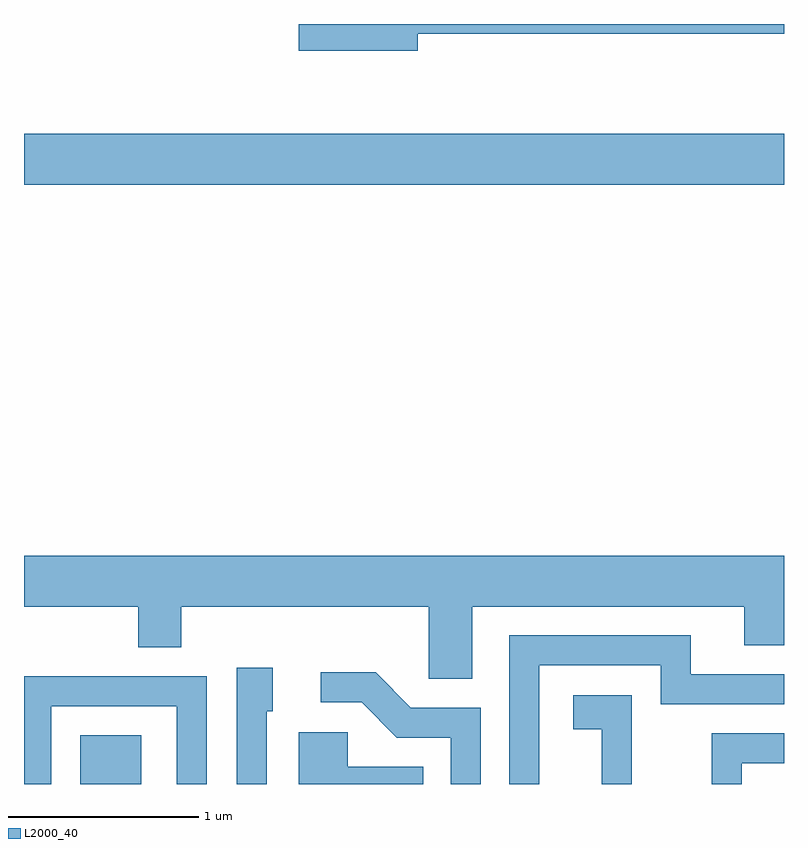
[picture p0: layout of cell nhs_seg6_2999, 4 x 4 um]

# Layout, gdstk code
import gdstk
lib = gdstk.Library(unit=1e-6, precision=1e-09)
def R(c, l, rs):  # rectangles x0, y0, x1, y1
    for r in rs: c.add(gdstk.rectangle(r[:2], r[2:], *l))
def P(c, l, *ps):  # polygons
    for p in ps: c.add(gdstk.Polygon(p, *l))
L2000_40 = (2000, 40)

nhs_seg6_2999 = lib.new_cell('nhs_seg6_2999')
R(nhs_seg6_2999, L2000_40, [(275.906,1600.162,276.229,1600.419), (275.611,1603.316,279.611,1603.584)])
P(nhs_seg6_2999, L2000_40, [(277.684,1604.111),(279.611,1604.111),(279.611,1604.162),(277.056,1604.162),(277.056,1604.021),(277.684,1604.021)],
  [(277.969,1601.096),(279.401,1601.096),(279.401,1600.891),(279.611,1600.891),(279.611,1601.364),(275.611,1601.364),(275.611,1601.096),(276.211,1601.096),(276.211,1600.881),(276.439,1600.881),(276.439,1601.096),(277.741,1601.096),(277.741,1600.716),(277.969,1600.716)],
  [(278.324,1600.786),(278.961,1600.786),(278.961,1600.581),(279.611,1600.581),(279.611,1600.739),(279.119,1600.739),(279.119,1600.944),(278.166,1600.944),(278.166,1600.162),(278.324,1600.162)],
  [(276.889,1600.546),(276.919,1600.546),(276.919,1600.774),(276.731,1600.774),(276.731,1600.162),(276.889,1600.162)],
  [(278.014,1600.564),(277.647,1600.564),(277.462,1600.749),(277.173,1600.749),(277.173,1600.591),(277.389,1600.591),(277.574,1600.406),(277.856,1600.406),(277.856,1600.162),(278.014,1600.162)],
  [(275.754,1600.571),(276.416,1600.571),(276.416,1600.162),(276.574,1600.162),(276.574,1600.729),(275.611,1600.729),(275.611,1600.162),(275.754,1600.162)],
  [(278.809,1600.629),(278.501,1600.629),(278.501,1600.451),(278.651,1600.451),(278.651,1600.162),(278.809,1600.162)],
  [(277.713,1600.254),(277.314,1600.254),(277.314,1600.434),(277.056,1600.434),(277.056,1600.162),(277.713,1600.162)],
  [(279.389,1600.271),(279.611,1600.271),(279.611,1600.429),(279.231,1600.429),(279.231,1600.162),(279.389,1600.162)])

lib.write_gds('nhs_seg6_2999.gds')
